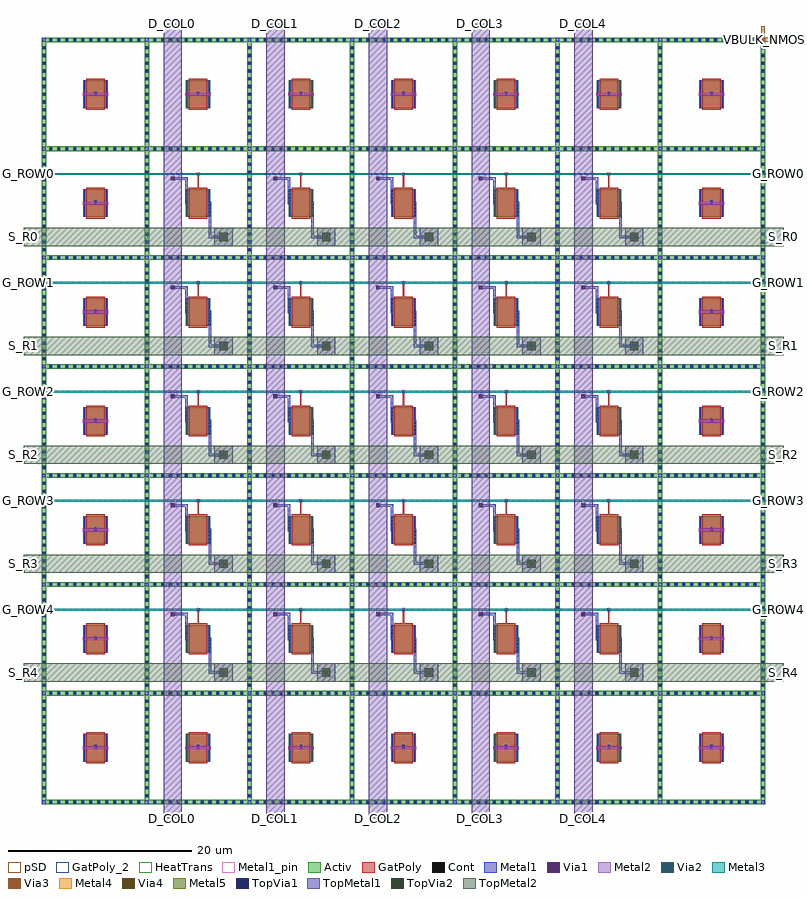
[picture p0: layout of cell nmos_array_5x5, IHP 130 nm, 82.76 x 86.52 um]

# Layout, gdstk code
import gdstk
lib = gdstk.Library(unit=1e-6, precision=1e-09)
def R(c, l, rs):  # rectangles x0, y0, x1, y1
    for r in rs: c.add(gdstk.rectangle(r[:2], r[2:], *l))
def A(c, l, x, y, w, h, nx, ny, dx, dy):  # array of equal rectangles
    R(c, l, [(x+i*dx, y+j*dy, x+i*dx+w, y+j*dy+h) for i in range(nx) for j in range(ny)])
Activ = (1, 0)
GatPoly = (5, 0)
GatPoly_2 = (5, 2)
Cont = (6, 0)
Metal1 = (8, 0)
Metal1_pin = (8, 2)
Metal2 = (10, 0)
pSD = (14, 0)
Via1 = (19, 0)
Via2 = (29, 0)
Metal3 = (30, 0)
Via3 = (49, 0)
Metal4 = (50, 0)
HeatTrans = (51, 0)
Via4 = (66, 0)
Metal5 = (67, 0)
TopVia1 = (125, 0)
TopMetal1 = (126, 0)
TopVia2 = (133, 0)
TopMetal2 = (134, 0)

nmos = lib.new_cell('nmos')
R(nmos, Activ, [(0,0,0.3,0.3), (0,0,2.68,3), (2.38,0,2.68,0.3)])
R(nmos, GatPoly, [(0.34,-0.18,2.34,3.18)])
R(nmos, GatPoly_2, [(0.34,-0.18,2.34,3.18)])
A(nmos, Cont, 0.07, 0.07, 0.16, 0.16, 1, 7, 0, 0.385)
A(nmos, Cont, 2.45, 0.07, 0.16, 0.16, 1, 7, 0, 0.385)
R(nmos, Cont, [(0.07,2.77,0.23,2.93), (2.45,2.77,2.61,2.93)])
R(nmos, Metal1, [(0.07,0,0.23,3), (2.45,0,2.61,3)])
R(nmos, Metal1_pin, [(0.07,0,0.23,3), (2.45,0,2.61,3)])
R(nmos, HeatTrans, [(0.34,-0.18,2.34,3.18)])
nmos.add(gdstk.Label('nmos', (1.34,1.5), layer=63, texttype=0))
nmos.add(gdstk.Label('nmos', (1.34,1.5), layer=51, texttype=0))

nmos_array_5x5 = lib.new_cell('nmos_array_5x5')
A(nmos_array_5x5, Activ, 0, 0, 0.5, 83.52, 8, 1, 11.18, 0)
A(nmos_array_5x5, Activ, 0, 0, 78.76, 0.5, 1, 8, 0, 11.86)
A(nmos_array_5x5, GatPoly, 5.775, 6.18, 0.13, 0.3, 7, 2, 11.18, 71.16)
A(nmos_array_5x5, GatPoly, 5.775, 18.04, 0.13, 0.3, 1, 5, 0, 11.86)
A(nmos_array_5x5, GatPoly, 72.855, 18.04, 0.13, 0.3, 1, 5, 0, 11.86)
A(nmos_array_5x5, GatPoly, 16.955, 19.72, 0.13, 1.5, 5, 5, 11.18, 11.86)
A(nmos_array_5x5, Cont, 0.871, 0.14, 0.22, 0.22, 3, 8, 0.872, 11.86)
A(nmos_array_5x5, Cont, 3.486, 0.14, 0.22, 0.22, 3, 8, 0.872, 11.86)
A(nmos_array_5x5, Cont, 6.101, 0.14, 0.22, 0.22, 3, 8, 0.872, 11.86)
A(nmos_array_5x5, Cont, 8.716, 0.14, 0.22, 0.22, 3, 8, 0.872, 11.86)
A(nmos_array_5x5, Cont, 12.18, 0.14, 0.22, 0.22, 12, 8, 0.86, 11.86)
A(nmos_array_5x5, Cont, 23.36, 0.14, 0.22, 0.22, 12, 8, 0.86, 11.86)
A(nmos_array_5x5, Cont, 34.54, 0.14, 0.22, 0.22, 12, 8, 0.86, 11.86)
A(nmos_array_5x5, Cont, 45.72, 0.14, 0.22, 0.22, 12, 8, 0.86, 11.86)
A(nmos_array_5x5, Cont, 56.9, 0.14, 0.22, 0.22, 12, 8, 0.86, 11.86)
A(nmos_array_5x5, Cont, 68.08, 0.14, 0.22, 0.22, 12, 8, 0.86, 11.86)
A(nmos_array_5x5, Cont, 0.14, 0.856, 0.22, 0.22, 8, 13, 11.18, 0.857)
A(nmos_array_5x5, Cont, 5.73, 6.26, 0.22, 0.22, 7, 2, 11.18, 71.16)
A(nmos_array_5x5, Cont, 0.14, 12.86, 0.22, 0.22, 8, 13, 11.18, 0.845)
A(nmos_array_5x5, Cont, 5.73, 18.12, 0.22, 0.22, 1, 5, 0, 11.86)
A(nmos_array_5x5, Cont, 72.81, 18.12, 0.22, 0.22, 1, 5, 0, 11.86)
A(nmos_array_5x5, Cont, 16.91, 21.11, 0.22, 0.22, 5, 5, 11.18, 11.86)
A(nmos_array_5x5, Cont, 0.14, 24.72, 0.22, 0.22, 8, 13, 11.18, 0.845)
A(nmos_array_5x5, Cont, 0.14, 36.58, 0.22, 0.22, 8, 13, 11.18, 0.845)
A(nmos_array_5x5, Cont, 0.14, 48.44, 0.22, 0.22, 8, 13, 11.18, 0.845)
A(nmos_array_5x5, Cont, 0.14, 60.3, 0.22, 0.22, 8, 13, 11.18, 0.845)
A(nmos_array_5x5, Cont, 0.14, 72.16, 0.22, 0.22, 8, 13, 11.18, 0.845)
A(nmos_array_5x5, Metal1, 0.05, 0.05, 0.4, 0.4, 8, 8, 11.18, 11.86)
A(nmos_array_5x5, Metal1, 0.811, 0.08, 0.34, 0.34, 3, 8, 0.872, 11.86)
A(nmos_array_5x5, Metal1, 3.426, 0.08, 0.34, 0.34, 3, 8, 0.872, 11.86)
A(nmos_array_5x5, Metal1, 6.041, 0.08, 0.34, 0.34, 3, 8, 0.872, 11.86)
A(nmos_array_5x5, Metal1, 8.656, 0.08, 0.34, 0.34, 3, 8, 0.872, 11.86)
A(nmos_array_5x5, Metal1, 12.12, 0.08, 0.34, 0.34, 12, 8, 0.86, 11.86)
A(nmos_array_5x5, Metal1, 23.3, 0.08, 0.34, 0.34, 12, 8, 0.86, 11.86)
A(nmos_array_5x5, Metal1, 34.48, 0.08, 0.34, 0.34, 12, 8, 0.86, 11.86)
A(nmos_array_5x5, Metal1, 45.66, 0.08, 0.34, 0.34, 12, 8, 0.86, 11.86)
A(nmos_array_5x5, Metal1, 56.84, 0.08, 0.34, 0.34, 12, 8, 0.86, 11.86)
A(nmos_array_5x5, Metal1, 68.02, 0.08, 0.34, 0.34, 12, 8, 0.86, 11.86)
A(nmos_array_5x5, Metal1, 0.08, 0.796, 0.34, 0.34, 8, 13, 11.18, 0.857)
A(nmos_array_5x5, Metal1, 5.7, 6, 0.28, 0.48, 7, 2, 11.18, 71.16)
A(nmos_array_5x5, Metal1, 0.08, 12.8, 0.34, 0.34, 8, 13, 11.18, 0.845)
A(nmos_array_5x5, Metal1, 18.15, 14.22, 0.28, 3.96, 5, 5, 11.18, 11.86)
A(nmos_array_5x5, Metal1, 18.15, 14.22, 1.78, 0.28, 5, 5, 11.18, 11.86)
A(nmos_array_5x5, Metal1, 5.7, 17.86, 0.28, 0.48, 1, 5, 0, 11.86)
A(nmos_array_5x5, Metal1, 72.78, 17.86, 0.28, 0.48, 1, 5, 0, 11.86)
A(nmos_array_5x5, Metal1, 15.61, 17.9, 0.28, 2.96, 5, 5, 11.18, 11.86)
A(nmos_array_5x5, Metal1, 14.11, 20.58, 1.78, 0.28, 5, 5, 11.18, 11.86)
A(nmos_array_5x5, Metal1, 16.86, 21.06, 0.32, 0.32, 5, 5, 11.18, 11.86)
A(nmos_array_5x5, Metal1, 0.08, 24.66, 0.34, 0.34, 8, 13, 11.18, 0.845)
A(nmos_array_5x5, Metal1, 0.08, 36.52, 0.34, 0.34, 8, 13, 11.18, 0.845)
A(nmos_array_5x5, Metal1, 0.08, 48.38, 0.34, 0.34, 8, 13, 11.18, 0.845)
A(nmos_array_5x5, Metal1, 0.08, 60.24, 0.34, 0.34, 8, 13, 11.18, 0.845)
A(nmos_array_5x5, Metal1, 0.08, 72.1, 0.34, 0.34, 8, 13, 11.18, 0.845)
A(nmos_array_5x5, Metal2, 4.45, 6, 2.78, 0.36, 7, 2, 11.18, 71.16)
A(nmos_array_5x5, Metal2, 19.635, 14.205, 0.31, 0.31, 5, 5, 11.18, 11.86)
A(nmos_array_5x5, Metal2, 4.45, 17.86, 2.78, 0.36, 1, 5, 0, 11.86)
A(nmos_array_5x5, Metal2, 71.53, 17.86, 2.78, 0.36, 1, 5, 0, 11.86)
A(nmos_array_5x5, Metal2, 14.095, 20.565, 0.31, 0.31, 5, 5, 11.18, 11.86)
A(nmos_array_5x5, Metal2, 16.875, 21.075, 0.29, 0.29, 5, 5, 11.18, 11.86)
R(nmos_array_5x5, Metal2, [(78.33,83.09,78.69,83.45)])
A(nmos_array_5x5, pSD, 0, 0, 0.5, 83.52, 8, 1, 11.18, 0)
A(nmos_array_5x5, pSD, 0, 0, 78.76, 0.5, 1, 8, 0, 11.86)
A(nmos_array_5x5, Via1, 4.555, 6.085, 0.19, 0.19, 3, 7, 1.19, 11.86)
A(nmos_array_5x5, Via1, 15.735, 6.085, 0.19, 0.19, 3, 2, 1.19, 71.16)
A(nmos_array_5x5, Via1, 26.915, 6.085, 0.19, 0.19, 3, 2, 1.19, 71.16)
A(nmos_array_5x5, Via1, 38.095, 6.085, 0.19, 0.19, 3, 2, 1.19, 71.16)
A(nmos_array_5x5, Via1, 49.275, 6.085, 0.19, 0.19, 3, 2, 1.19, 71.16)
A(nmos_array_5x5, Via1, 60.455, 6.085, 0.19, 0.19, 3, 2, 1.19, 71.16)
A(nmos_array_5x5, Via1, 71.635, 6.085, 0.19, 0.19, 3, 7, 1.19, 11.86)
A(nmos_array_5x5, Via1, 19.695, 14.265, 0.19, 0.19, 5, 5, 11.18, 11.86)
A(nmos_array_5x5, Via1, 14.155, 20.625, 0.19, 0.19, 5, 5, 11.18, 11.86)
A(nmos_array_5x5, Via1, 16.925, 21.125, 0.19, 0.19, 5, 5, 11.18, 11.86)
R(nmos_array_5x5, Via1, [(78.415,83.175,78.605,83.365)])
A(nmos_array_5x5, Via2, 19.695, 14.265, 0.19, 0.19, 5, 5, 11.18, 11.86)
A(nmos_array_5x5, Via2, 14.155, 20.625, 0.19, 0.19, 5, 5, 11.18, 11.86)
A(nmos_array_5x5, Via2, 16.925, 21.125, 0.19, 0.19, 5, 5, 11.18, 11.86)
R(nmos_array_5x5, Via2, [(78.415,83.175,78.605,83.365)])
A(nmos_array_5x5, Metal3, 19.635, 14.205, 0.31, 0.31, 5, 5, 11.18, 11.86)
A(nmos_array_5x5, Metal3, 14.095, 20.565, 0.31, 0.31, 5, 5, 11.18, 11.86)
A(nmos_array_5x5, Metal3, -1.6, 21.12, 81.96, 0.2, 1, 5, 0, 11.86)
A(nmos_array_5x5, Metal3, 16.92, 21.12, 0.2, 0.2, 5, 5, 11.18, 11.86)
R(nmos_array_5x5, Metal3, [(78.41,83.17,78.61,83.37)])
A(nmos_array_5x5, Via3, 19.695, 14.265, 0.19, 0.19, 5, 5, 11.18, 11.86)
A(nmos_array_5x5, Via3, 14.155, 20.625, 0.19, 0.19, 5, 5, 11.18, 11.86)
R(nmos_array_5x5, Via3, [(78.415,83.175,78.605,83.365)])
A(nmos_array_5x5, Metal4, 19.635, 14.205, 0.31, 0.31, 5, 5, 11.18, 11.86)
A(nmos_array_5x5, Metal4, 14.095, 20.565, 0.31, 0.31, 5, 5, 11.18, 11.86)
R(nmos_array_5x5, Metal4, [(78.31,83.07,80.01,83.47), (78.31,83.07,78.71,84.77)])
A(nmos_array_5x5, Via4, 19.695, 14.265, 0.19, 0.19, 5, 5, 11.18, 11.86)
A(nmos_array_5x5, Via4, 14.155, 20.625, 0.19, 0.19, 5, 5, 11.18, 11.86)
A(nmos_array_5x5, Metal5, 19.635, 14.205, 0.31, 0.31, 5, 5, 11.18, 11.86)
A(nmos_array_5x5, Metal5, 14.095, 20.565, 0.31, 0.31, 5, 5, 11.18, 11.86)
A(nmos_array_5x5, TopVia1, 19.58, 14.15, 0.42, 0.42, 5, 5, 11.18, 11.86)
A(nmos_array_5x5, TopVia1, 14.04, 20.51, 0.42, 0.42, 5, 5, 11.18, 11.86)
A(nmos_array_5x5, TopMetal1, 13.25, -1.5, 2, 86.52, 5, 1, 11.18, 0)
A(nmos_array_5x5, TopMetal1, 18.79, 13.36, 2, 2, 5, 5, 11.18, 11.86)
A(nmos_array_5x5, TopMetal1, 13.25, 19.72, 2, 2, 5, 5, 11.18, 11.86)
A(nmos_array_5x5, TopVia2, 19.34, 13.91, 0.9, 0.9, 5, 5, 11.18, 11.86)
A(nmos_array_5x5, TopMetal2, -2, 13.36, 82.76, 2, 1, 5, 0, 11.86)
A(nmos_array_5x5, TopMetal2, 18.79, 13.36, 2, 2, 5, 5, 11.18, 11.86)
nmos_array_5x5.add(gdstk.Reference(nmos, (4.5,4.68)))
nmos_array_5x5.add(gdstk.Reference(nmos, (15.68,4.68)))
nmos_array_5x5.add(gdstk.Reference(nmos, (26.86,4.68)))
nmos_array_5x5.add(gdstk.Reference(nmos, (38.04,4.68)))
nmos_array_5x5.add(gdstk.Reference(nmos, (49.22,4.68)))
nmos_array_5x5.add(gdstk.Reference(nmos, (60.4,4.68)))
nmos_array_5x5.add(gdstk.Reference(nmos, (71.58,4.68)))
nmos_array_5x5.add(gdstk.Reference(nmos, (4.5,16.54)))
nmos_array_5x5.add(gdstk.Reference(nmos, (15.68,16.54)))
nmos_array_5x5.add(gdstk.Reference(nmos, (26.86,16.54)))
nmos_array_5x5.add(gdstk.Reference(nmos, (38.04,16.54)))
nmos_array_5x5.add(gdstk.Reference(nmos, (49.22,16.54)))
nmos_array_5x5.add(gdstk.Reference(nmos, (60.4,16.54)))
nmos_array_5x5.add(gdstk.Reference(nmos, (71.58,16.54)))
nmos_array_5x5.add(gdstk.Reference(nmos, (4.5,28.4)))
nmos_array_5x5.add(gdstk.Reference(nmos, (15.68,28.4)))
nmos_array_5x5.add(gdstk.Reference(nmos, (26.86,28.4)))
nmos_array_5x5.add(gdstk.Reference(nmos, (38.04,28.4)))
nmos_array_5x5.add(gdstk.Reference(nmos, (49.22,28.4)))
nmos_array_5x5.add(gdstk.Reference(nmos, (60.4,28.4)))
nmos_array_5x5.add(gdstk.Reference(nmos, (71.58,28.4)))
nmos_array_5x5.add(gdstk.Reference(nmos, (4.5,40.26)))
nmos_array_5x5.add(gdstk.Reference(nmos, (15.68,40.26)))
nmos_array_5x5.add(gdstk.Reference(nmos, (26.86,40.26)))
nmos_array_5x5.add(gdstk.Reference(nmos, (38.04,40.26)))
nmos_array_5x5.add(gdstk.Reference(nmos, (49.22,40.26)))
nmos_array_5x5.add(gdstk.Reference(nmos, (60.4,40.26)))
nmos_array_5x5.add(gdstk.Reference(nmos, (71.58,40.26)))
nmos_array_5x5.add(gdstk.Reference(nmos, (4.5,52.12)))
nmos_array_5x5.add(gdstk.Reference(nmos, (15.68,52.12)))
nmos_array_5x5.add(gdstk.Reference(nmos, (26.86,52.12)))
nmos_array_5x5.add(gdstk.Reference(nmos, (38.04,52.12)))
nmos_array_5x5.add(gdstk.Reference(nmos, (49.22,52.12)))
nmos_array_5x5.add(gdstk.Reference(nmos, (60.4,52.12)))
nmos_array_5x5.add(gdstk.Reference(nmos, (71.58,52.12)))
nmos_array_5x5.add(gdstk.Reference(nmos, (4.5,63.98)))
nmos_array_5x5.add(gdstk.Reference(nmos, (15.68,63.98)))
nmos_array_5x5.add(gdstk.Reference(nmos, (26.86,63.98)))
nmos_array_5x5.add(gdstk.Reference(nmos, (38.04,63.98)))
nmos_array_5x5.add(gdstk.Reference(nmos, (49.22,63.98)))
nmos_array_5x5.add(gdstk.Reference(nmos, (60.4,63.98)))
nmos_array_5x5.add(gdstk.Reference(nmos, (71.58,63.98)))
nmos_array_5x5.add(gdstk.Reference(nmos, (4.5,75.84)))
nmos_array_5x5.add(gdstk.Reference(nmos, (15.68,75.84)))
nmos_array_5x5.add(gdstk.Reference(nmos, (26.86,75.84)))
nmos_array_5x5.add(gdstk.Reference(nmos, (38.04,75.84)))
nmos_array_5x5.add(gdstk.Reference(nmos, (49.22,75.84)))
nmos_array_5x5.add(gdstk.Reference(nmos, (60.4,75.84)))
nmos_array_5x5.add(gdstk.Reference(nmos, (71.58,75.84)))
nmos_array_5x5.add(gdstk.Label('VBULK_NMOS', (80.01,83.27), layer=63, texttype=0))
nmos_array_5x5.add(gdstk.Label('VBULK_NMOS', (78.51,84.77), layer=63, texttype=0))
nmos_array_5x5.add(gdstk.Label('G_ROW4', (-1.5,21.22), layer=63, texttype=0))
nmos_array_5x5.add(gdstk.Label('G_ROW4', (80.26,21.22), layer=63, texttype=0))
nmos_array_5x5.add(gdstk.Label('G_ROW3', (-1.5,33.08), layer=63, texttype=0))
nmos_array_5x5.add(gdstk.Label('G_ROW3', (80.26,33.08), layer=63, texttype=0))
nmos_array_5x5.add(gdstk.Label('G_ROW2', (-1.5,44.94), layer=63, texttype=0))
nmos_array_5x5.add(gdstk.Label('G_ROW2', (80.26,44.94), layer=63, texttype=0))
nmos_array_5x5.add(gdstk.Label('G_ROW1', (-1.5,56.8), layer=63, texttype=0))
nmos_array_5x5.add(gdstk.Label('G_ROW1', (80.26,56.8), layer=63, texttype=0))
nmos_array_5x5.add(gdstk.Label('G_ROW0', (-1.5,68.66), layer=63, texttype=0))
nmos_array_5x5.add(gdstk.Label('G_ROW0', (80.26,68.66), layer=63, texttype=0))
nmos_array_5x5.add(gdstk.Label('D_COL0', (14.25,-1.5), layer=63, texttype=0))
nmos_array_5x5.add(gdstk.Label('D_COL0', (14.25,85.02), layer=63, texttype=0))
nmos_array_5x5.add(gdstk.Label('D_COL1', (25.43,-1.5), layer=63, texttype=0))
nmos_array_5x5.add(gdstk.Label('D_COL1', (25.43,85.02), layer=63, texttype=0))
nmos_array_5x5.add(gdstk.Label('D_COL2', (36.61,-1.5), layer=63, texttype=0))
nmos_array_5x5.add(gdstk.Label('D_COL2', (36.61,85.02), layer=63, texttype=0))
nmos_array_5x5.add(gdstk.Label('D_COL3', (47.79,-1.5), layer=63, texttype=0))
nmos_array_5x5.add(gdstk.Label('D_COL3', (47.79,85.02), layer=63, texttype=0))
nmos_array_5x5.add(gdstk.Label('D_COL4', (58.97,-1.5), layer=63, texttype=0))
nmos_array_5x5.add(gdstk.Label('D_COL4', (58.97,85.02), layer=63, texttype=0))
nmos_array_5x5.add(gdstk.Label('S_R4', (-2,14.36), layer=63, texttype=0))
nmos_array_5x5.add(gdstk.Label('S_R4', (80.76,14.36), layer=63, texttype=0))
nmos_array_5x5.add(gdstk.Label('S_R3', (-2,26.22), layer=63, texttype=0))
nmos_array_5x5.add(gdstk.Label('S_R3', (80.76,26.22), layer=63, texttype=0))
nmos_array_5x5.add(gdstk.Label('S_R2', (-2,38.08), layer=63, texttype=0))
nmos_array_5x5.add(gdstk.Label('S_R2', (80.76,38.08), layer=63, texttype=0))
nmos_array_5x5.add(gdstk.Label('S_R1', (-2,49.94), layer=63, texttype=0))
nmos_array_5x5.add(gdstk.Label('S_R1', (80.76,49.94), layer=63, texttype=0))
nmos_array_5x5.add(gdstk.Label('S_R0', (-2,61.8), layer=63, texttype=0))
nmos_array_5x5.add(gdstk.Label('S_R0', (80.76,61.8), layer=63, texttype=0))

lib.write_gds('nmos_array_5x5.gds')
